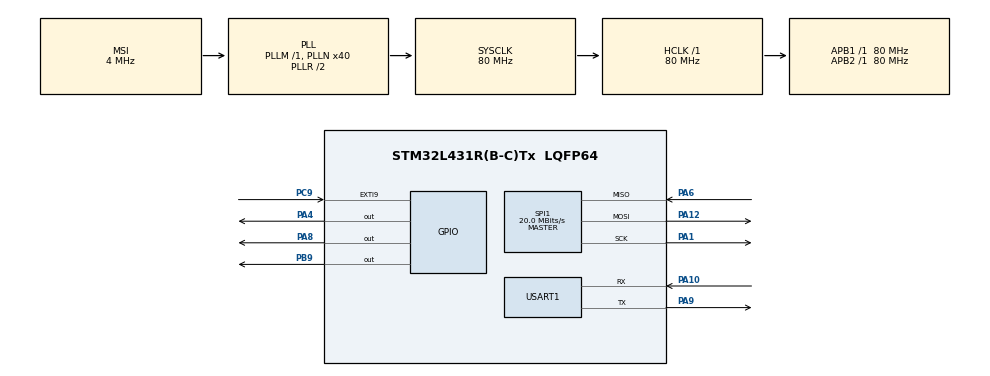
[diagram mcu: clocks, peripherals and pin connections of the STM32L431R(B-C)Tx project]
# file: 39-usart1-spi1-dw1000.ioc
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Mcu.Family=STM32L4
Mcu.Name=STM32L431R(B-C)Tx
Mcu.Package=LQFP64
NVIC.EXTI9_5_IRQn=true\:0\:0\:false\:false\:true\:true\:true
NVIC.PriorityGroup=NVIC_PRIORITYGROUP_4
PA1.Mode=Full_Duplex_Master
PA1.Signal=SPI1_SCK
PA10.Mode=Asynchronous
PA10.Signal=USART1_RX
PA12.Mode=Full_Duplex_Master
PA12.Signal=SPI1_MOSI
PA4.Signal=GPIO_Output
PA6.Mode=Full_Duplex_Master
PA6.Signal=SPI1_MISO
PA8.Signal=GPIO_Output
PA9.Mode=Asynchronous
PA9.Signal=USART1_TX
PB9.Signal=GPIO_Output
PC9.Signal=GPXTI9
PH0-OSC_IN\ (PH0).Mode=HSE-External-Oscillator
PH0-OSC_IN\ (PH0).Signal=RCC_OSC_IN
PH1-OSC_OUT\ (PH1).Mode=HSE-External-Oscillator
PH1-OSC_OUT\ (PH1).Signal=RCC_OSC_OUT
ProjectManager.HeapSize=0x200
ProjectManager.StackSize=0x400
ProjectManager.TargetToolchain=MDK-ARM V5.27
RCC.AHBFreq_Value=80000000
RCC.APB1Freq_Value=80000000
RCC.APB1TimFreq_Value=80000000
RCC.APB2Freq_Value=80000000
RCC.APB2TimFreq_Value=80000000
RCC.CortexFreq_Value=80000000
RCC.HCLKFreq_Value=80000000
RCC.HSE_VALUE=8000000
RCC.HSI48_VALUE=48000000
RCC.HSI_VALUE=16000000
RCC.LSE_VALUE=32768
RCC.MSI_VALUE=4000000
RCC.PLLN=40
RCC.SYSCLKFreq_VALUE=80000000
RCC.SYSCLKSource=RCC_SYSCLKSOURCE_PLLCLK
RCC.VCOOutputFreq_Value=160000000
SPI1.BaudRatePrescaler=SPI_BAUDRATEPRESCALER_4
SPI1.CRCCalculation=SPI_CRCCALCULATION_DISABLE
SPI1.CalculateBaudRate=20.0 MBits/s
SPI1.DataSize=SPI_DATASIZE_8BIT
SPI1.Direction=SPI_DIRECTION_2LINES
SPI1.Mode=SPI_MODE_MASTER
SPI1.VirtualType=VM_MASTER
USART1.VirtualMode-Asynchronous=VM_ASYNC
board=custom

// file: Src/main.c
/* USER CODE BEGIN Header */
/**
  ******************************************************************************
  * @file           : main.c
  * @brief          : Main program body
  ******************************************************************************
  * @attention
  *
  * <h2><center>&copy; Copyright (c) 2021 STMicroelectronics.
  * All rights reserved.</center></h2>
  *
  * This software component is licensed by ST under BSD 3-Clause license,
  * the "License"; You may not use this file except in compliance with the
  * License. You may obtain a copy of the License at:
  *                        opensource.org/licenses/BSD-3-Clause
  *
  ******************************************************************************
  */
/* USER CODE END Header */

#include "main.h"
#include "spi.h"
#include "usart.h"
#include "gpio.h"

/* USER CODE BEGIN Includes */
#include <stdio.h>
#include "dw1000.h"
#include "deca_device_api.h"
#include "deca_regs.h"
/* USER CODE END Includes */

/* USER CODE BEGIN PV */
/* Default communication configuration. We use here EVK1000's default mode (mode 3). */
static dwt_config_t config = {
    2,               /* Channel number. */
    DWT_PRF_64M,     /* Pulse repetition frequency. */
    DWT_PLEN_1024,   /* Preamble length. Used in TX only. */
    DWT_PAC32,       /* Preamble acquisition chunk size. Used in RX only. */
    9,               /* TX preamble code. Used in TX only. */
    9,               /* RX preamble code. Used in RX only. */
    1,               /* 0 to use standard SFD, 1 to use non-standard SFD. */
    DWT_BR_110K,     /* Data rate. */
    DWT_PHRMODE_STD, /* PHY header mode. */
    (1025 + 64 - 32) /* SFD timeout (preamble length + 1 + SFD length - PAC size). Used in RX only. */
};

/* The frame sent in this example is an 802.15.4e standard blink. It is a 12-byte frame composed of the following fields:
 *     - byte 0: frame type (0xC5 for a blink).
 *     - byte 1: sequence number, incremented for each new frame.
 *     - byte 2 -> 9: device ID, see NOTE 1 below.
 *     - byte 10/11: frame check-sum, automatically set by DW1000.  */
static uint8 tx_msg[] = {0xC5, 0, 'D', 'E', 'C', 'A', 'W', 'A', 'V', 'E', 0, 0};

/* Index to access to sequence number of the blink frame in the tx_msg array. */
#define BLINK_FRAME_SN_IDX 1

/* Inter-frame delay period, in milliseconds. */
#define TX_DELAY_MS 1000

/* USER CODE END PV */

void SystemClock_Config(void);

/* USER CODE BEGIN 0 */
uint32_t dw1000_read_device_id(void)
{
	HAL_StatusTypeDef status;
	uint8_t header = 0x00;
	uint32_t device_id;

	HAL_GPIO_WritePin(GPIOA, GPIO_PIN_4, GPIO_PIN_RESET);

	status = HAL_SPI_Transmit(&hspi1,&header, 1, 1000);
	if (status != HAL_OK) {
		printf("send header fail, err is %d\r\n", status);
		device_id  = 0;
	}

	status = HAL_SPI_Receive(&hspi1, (uint8_t *)&device_id, 4, 500);
	if (status != HAL_OK) {
		printf("read device id fail, err is %d\r\n", status);
		device_id  = 0;
	}

	HAL_GPIO_WritePin(GPIOA, GPIO_PIN_4, GPIO_PIN_SET);

	return device_id;
}
/* USER CODE END 0 */

int main(void)
{
  /* USER CODE BEGIN 1 */
	uint32_t device_id;
  /* USER CODE END 1 */

  /* MCU Configuration--------------------------------------------------------*/

  /* Reset of all peripherals, Initializes the Flash interface and the Systick. */
  HAL_Init();

  /* Configure the system clock */
  SystemClock_Config();

  /* Initialize all configured peripherals */
  MX_GPIO_Init();
  MX_SPI1_Init();
  MX_USART1_UART_Init();
  /* USER CODE BEGIN 2 */
	printf("DW1000 UWB ic port on BearPi board By Mculover666\r\n");

//	device_id = dw1000_read_device_id();
//	if (device_id != 0) {
//		printf("device id is 0x%8x\r\n", device_id);
//	} else {
//		printf("device id read fail\r\n");
//	}

	reset_DW1000();

	spi_set_rate_low();
	if (dwt_initialise(DWT_LOADNONE) == DWT_ERROR)
	{
			printf("DW1000 init fail\r\n");
			Error_Handler();
	}
	printf("DW1000 init success\r\n");

	spi_set_rate_high();

	/* Configure DW1000. */
	dwt_configure(&config);
	printf("DW1000 configure success\r\n");

  /* USER CODE END 2 */

  /* Infinite loop */
  while (1)
  {

    /* USER CODE BEGIN 3 */
		/* Write frame data to DW1000 and prepare transmission. See NOTE 4 below.*/
		dwt_writetxdata(sizeof(tx_msg), tx_msg, 0); /* Zero offset in TX buffer. */
		dwt_writetxfctrl(sizeof(tx_msg), 0, 0); /* Zero offset in TX buffer, no ranging. */

		/* Start transmission. */
		dwt_starttx(DWT_START_TX_IMMEDIATE);

		/* Poll DW1000 until TX frame sent event set. See NOTE 5 below.
		 * STATUS register is 5 bytes long but, as the event we are looking at is in the first byte of the register, we can use this simplest API
		 * function to access it.*/
		while (!(dwt_read32bitreg(SYS_STATUS_ID) & SYS_STATUS_TXFRS));

		printf("send success!\r\n");

		/* Clear TX frame sent event. */
		dwt_write32bitreg(SYS_STATUS_ID, SYS_STATUS_TXFRS);

		/* Execute a delay between transmissions. */
		HAL_Delay(TX_DELAY_MS);

		/* Increment the blink frame sequence number (modulo 256). */
		tx_msg[BLINK_FRAME_SN_IDX]++;
  }
  /* USER CODE END 3 */
}

void SystemClock_Config(void)
{
  RCC_OscInitTypeDef RCC_OscInitStruct = {0};
  RCC_ClkInitTypeDef RCC_ClkInitStruct = {0};
  RCC_PeriphCLKInitTypeDef PeriphClkInit = {0};

  /** Initializes the CPU, AHB and APB busses clocks
  */
  RCC_OscInitStruct.OscillatorType = RCC_OSCILLATORTYPE_MSI;
  RCC_OscInitStruct.MSIState = RCC_MSI_ON;
  RCC_OscInitStruct.MSICalibrationValue = 0;
  RCC_OscInitStruct.MSIClockRange = RCC_MSIRANGE_6;
  RCC_OscInitStruct.PLL.PLLState = RCC_PLL_ON;
  RCC_OscInitStruct.PLL.PLLSource = RCC_PLLSOURCE_MSI;
  RCC_OscInitStruct.PLL.PLLM = 1;
  RCC_OscInitStruct.PLL.PLLN = 40;
  RCC_OscInitStruct.PLL.PLLP = RCC_PLLP_DIV7;
  RCC_OscInitStruct.PLL.PLLQ = RCC_PLLQ_DIV2;
  RCC_OscInitStruct.PLL.PLLR = RCC_PLLR_DIV2;
  if (HAL_RCC_OscConfig(&RCC_OscInitStruct) != HAL_OK)
  {
    Error_Handler();
  }
  /** Initializes the CPU, AHB and APB busses clocks
  */
  RCC_ClkInitStruct.ClockType = RCC_CLOCKTYPE_HCLK|RCC_CLOCKTYPE_SYSCLK
                              |RCC_CLOCKTYPE_PCLK1|RCC_CLOCKTYPE_PCLK2;
  RCC_ClkInitStruct.SYSCLKSource = RCC_SYSCLKSOURCE_PLLCLK;
  RCC_ClkInitStruct.AHBCLKDivider = RCC_SYSCLK_DIV1;
  RCC_ClkInitStruct.APB1CLKDivider = RCC_HCLK_DIV1;
  RCC_ClkInitStruct.APB2CLKDivider = RCC_HCLK_DIV1;

  if (HAL_RCC_ClockConfig(&RCC_ClkInitStruct, FLASH_LATENCY_4) != HAL_OK)
  {
    Error_Handler();
  }
  PeriphClkInit.PeriphClockSelection = RCC_PERIPHCLK_USART1;
  PeriphClkInit.Usart1ClockSelection = RCC_USART1CLKSOURCE_PCLK2;
  if (HAL_RCCEx_PeriphCLKConfig(&PeriphClkInit) != HAL_OK)
  {
    Error_Handler();
  }
  /** Configure the main internal regulator output voltage
  */
  if (HAL_PWREx_ControlVoltageScaling(PWR_REGULATOR_VOLTAGE_SCALE1) != HAL_OK)
  {
    Error_Handler();
  }
}

void Error_Handler(void)
{
}

/************************ (C) COPYRIGHT STMicroelectronics *****END OF FILE****/
